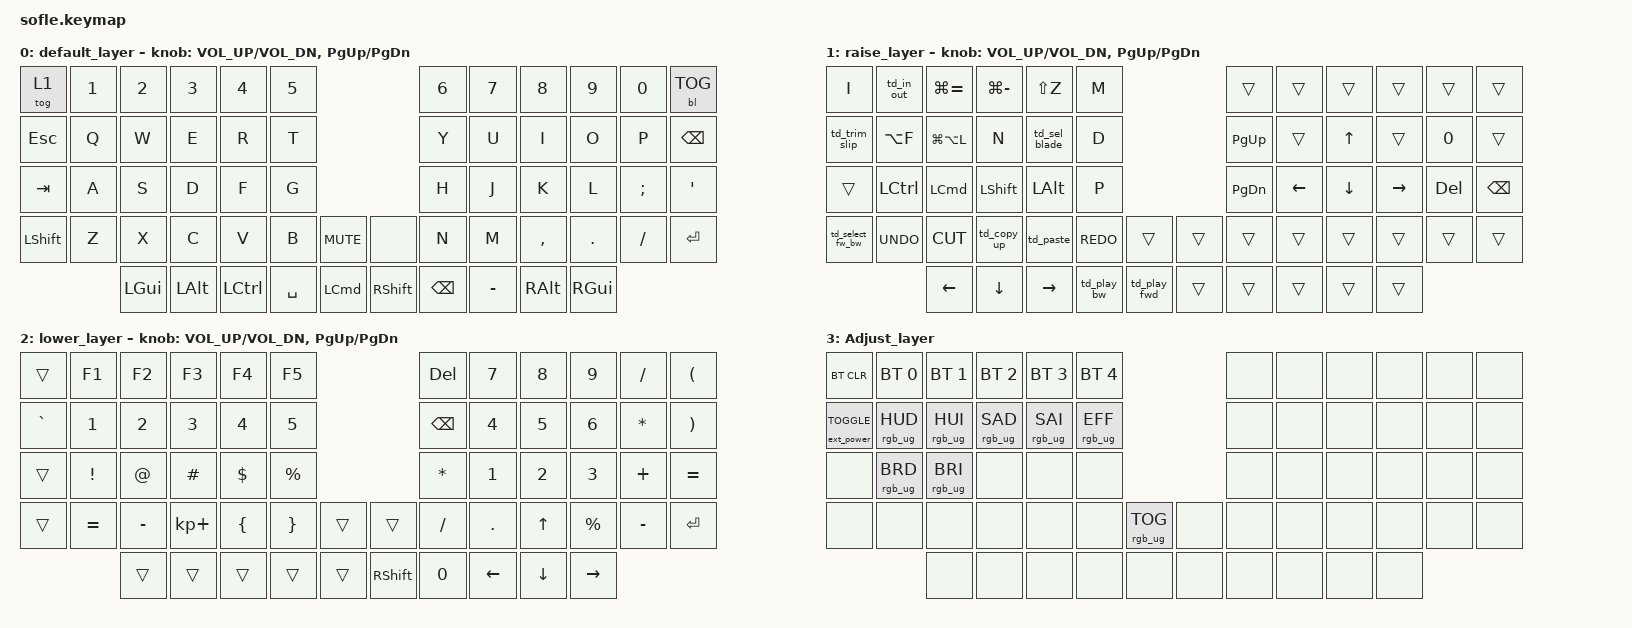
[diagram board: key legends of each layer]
/*
 * Copyright (c) 2020 The ZMK Contributors
 *
 * SPDX-License-Identifier: MIT
 */

#include <behaviors.dtsi>
#include <dt-bindings/zmk/backlight.h>
#include <dt-bindings/zmk/bt.h>
#include <dt-bindings/zmk/ext_power.h>
#include <dt-bindings/zmk/keys.h>
#include <dt-bindings/zmk/rgb.h>

#define BASE 0
#define LOWER 1
#define RAISE 2
#define ADJUST 3

/ {
    // Activate ADJUST layer by pressing raise and lower

    conditional_layers {
        compatible = "zmk,conditional-layers";

        adjust_layer {
            if-layers = <2 1>;
            then-layer = <3>;
        };
    };

    behaviors {
        td_sel_blade: td_sel_blade {
            compatible = "zmk,behavior-tap-dance";
            label = "TD_SEL_BLADE";
            #binding-cells = <0>;
            bindings = <&kp A>, <&kp B>;
        };

        td_copy_up: td_copy_up {
            compatible = "zmk,behavior-tap-dance";
            label = "TD_COPY_UP";
            #binding-cells = <0>;
            bindings = <&kp UP_ARROW>, <&kp K_COPY>;
        };

        td_trim_slip: td_trim_slip {
            compatible = "zmk,behavior-tap-dance";
            label = "TD_TRIM_SLIP";
            #binding-cells = <0>;
            bindings = <&kp T>, <&kp W>;
        };

        td_in_out: td_in_out {
            compatible = "zmk,behavior-tap-dance";
            label = "TD_IN_OUT";
            #binding-cells = <0>;
            bindings = <&kp I>, <&kp O>, <&kp LA(X)>;
        };

        td_paste: td_paste {
            compatible = "zmk,behavior-tap-dance";
            label = "TD_PASTE";
            #binding-cells = <0>;
            bindings = <&kp LG(V)>, <&kp LA(V)>, <&kp LS(LG(V))>;
        };

        td_select_fw_bw: td_select_fw_bw {
            compatible = "zmk,behavior-tap-dance";
            label = "TD_SELECT_FW_BW";
            #binding-cells = <0>;
            bindings = <&kp LA(Y)>, <&kp LG(LS(Y))>, <&kp LG(LS(A))>;
        };

        td_fwd_play: td_fwd_play {
            compatible = "zmk,behavior-tap-dance";
            label = "TD_FWD_PLAY";
            #binding-cells = <0>;
            bindings = <&kp RIGHT>;
        };

        td_play_bw: td_play_bw {
            compatible = "zmk,behavior-tap-dance";
            label = "TD_PLAY_BW";
            #binding-cells = <0>;
            bindings = <&kp J>, <&kp LS(J)>;
        };

        td_play_fwd: td_play_fwd {
            compatible = "zmk,behavior-tap-dance";
            label = "TD_PLAY_FWD";
            #binding-cells = <0>;
            bindings = <&kp SPACE>, <&kp LS(L)>;
        };
    };

    keymap {
        compatible = "zmk,keymap";

        default_layer {
            // ------------------------------------------------------------------------------------------------------------
            // |  `    |  1  |  2  |  3   |  4   |  5   |                   |  6   |  7    |  8    |  9   |   0   |       |
            // |  ESC  |  Q  |  W  |  E   |  R   |  T   |                   |  Y   |  U    |  I    |  O   |   P   | BKSPC |
            // |  TAB  |  A  |  S  |  D   |  F   |  G   |                   |  H   |  J    |  K    |  L   |   ;   |   '   |
            // | SHIFT |  Z  |  X  |  C   |  V   |  B   |  MUTE  |  |       |  N   |  M    |  ,    |  .   |   /   | SHIFT |
            //               | GUI | ALT  | CTRL | LOWER|  ENTER |  | SPACE | RAISE| CTRL  | ALT   | GUI  |

            bindings = <
&tog 1     &kp N1  &kp N2    &kp N3    &kp N4     &kp N5                                    &kp N6         &kp N7     &kp N8     &kp N9    &kp N0    &bl BL_TOG
&kp ESC    &kp Q   &kp W     &kp E     &kp R      &kp T                                     &kp Y          &kp U      &kp I      &kp O     &kp P     &kp BACKSPACE
&kp TAB    &kp A   &kp S     &kp D     &kp F      &kp G                                     &kp H          &kp J      &kp K      &kp L     &kp SEMI  &kp SQT
&kp LSHFT  &kp Z   &kp X     &kp C     &kp V      &kp B      &kp C_MUTE    &none            &kp N          &kp M      &kp COMMA  &kp DOT   &kp FSLH  &kp ENTER
                   &kp LGUI  &kp LALT  &kp LCTRL  &kp SPACE  &kp LCMD      &kp RIGHT_SHIFT  &kp BACKSPACE  &kp MINUS  &kp RALT   &kp RGUI
            >;

            sensor-bindings = <&inc_dec_kp C_VOL_UP C_VOL_DN &inc_dec_kp PG_UP PG_DN>;
        };

        raise_layer {
            // ------------------------------------------------------------------------------------------------------------
            // |BTCLR| BT1  | BT2  |  BT3  |  BT4  |  BT5 |                |      |      |       |      |       |       |
            // |     | INS  | PSCR | GUI   |       |      |                | PGUP |      |   ^   |      |       |       |
            // |     | ALT  | CTRL | SHIFT |       | CAPS |                | PGDN |   <- |   v   |  ->  |  DEL  | BKSPC |
            // |     | UNDO | CUT  | COPY  | PASTE |      |      |  |      |      |      |       |      |       |       |
            //              |      |       |       |      |      |  |      |      |      |       |      |

            bindings = <
&kp I             &td_in_out        &kp LG(EQUAL)     &kp LG(MINUS)   &kp LS(Z)      &kp M                                &trans     &trans    &trans    &trans     &trans   &trans
&td_trim_slip     &kp LA(F)         &kp LG(LA(L))     &kp N           &td_sel_blade  &kp D                                &kp PG_UP  &trans    &kp UP    &trans     &kp N0   &trans
&trans            &kp LEFT_CONTROL  &kp LEFT_COMMAND  &kp LSHFT       &kp LEFT_ALT   &kp P                                &kp PG_DN  &kp LEFT  &kp DOWN  &kp RIGHT  &kp DEL  &kp BSPC
&td_select_fw_bw  &kp K_UNDO        &kp K_CUT         &td_copy_up     &td_paste      &kp K_REDO   &trans          &trans  &trans     &trans    &trans    &trans     &trans   &trans
                                    &kp LEFT          &kp DOWN_ARROW  &kp RIGHT      &td_play_bw  &td_play_fwd    &trans  &trans     &trans    &trans    &trans
            >;

            sensor-bindings = <&inc_dec_kp C_VOL_UP C_VOL_DN &inc_dec_kp PG_UP PG_DN>;
        };

        lower_layer {
            // TODO: Some binds are waiting for shifted keycode support.
            // ------------------------------------------------------------------------------------------------------------
            // |       |  F1 |  F2 |  F3  |  F4  |  F5  |                   |  F6  |  F7   |  F8   |  F9  |  F10  |  F11  |
            // | `     |   1 |   2 |   3  |   4  |   5  |                   |   6  |   7   |   8   |   9  |    0  |  F12  |
            // |       |  !  |  @  |  #   |  $   |  %   |                   |  ^   |  &    |  *    |  (   |   )   |   |   |
            // |       |  =  |  -  |  +   |  {   |  }   |        |  |       |  [   |  ]    |  ;    |  :   |   \   |       |
            //               |     |      |      |      |        |  |       |      |       |       |      |

            bindings = <
&trans     &kp F1     &kp F2     &kp F3       &kp F4    &kp F5                                &kp DELETE     &kp N7        &kp N8        &kp N9        &kp SLASH     &kp LEFT_PARENTHESIS
&kp GRAVE  &kp N1     &kp N2     &kp N3       &kp N4    &kp N5                                &kp BACKSPACE  &kp NUMBER_4  &kp N5        &kp NUMBER_6  &kp ASTERISK  &kp RIGHT_PARENTHESIS
&trans     &kp EXCL   &kp AT     &kp HASH     &kp DLLR  &kp PRCNT                             &kp ASTERISK   &kp NUMBER_1  &kp NUMBER_2  &kp NUMBER_3  &kp PLUS      &kp EQUAL
&trans     &kp EQUAL  &kp MINUS  &kp KP_PLUS  &kp LBRC  &kp RBRC   &trans    &trans           &kp SLASH      &kp DOT       &kp UP_ARROW  &kp PERCENT   &kp MINUS     &kp RET
                      &trans     &trans       &trans    &trans     &trans    &kp RIGHT_SHIFT  &kp N0         &kp LEFT      &kp DOWN      &kp RIGHT
            >;

            sensor-bindings = <&inc_dec_kp C_VOL_UP C_VOL_DN &inc_dec_kp PG_UP PG_DN>;
        };

        Adjust_layer {
            bindings = <
&bt BT_CLR                       &bt BT_SEL 0     &bt BT_SEL 1     &bt BT_SEL 2     &bt BT_SEL 3     &bt BT_SEL 4                               &none  &none  &none  &none  &none  &none
&ext_power EXT_POWER_TOGGLE_CMD  &rgb_ug RGB_HUD  &rgb_ug RGB_HUI  &rgb_ug RGB_SAD  &rgb_ug RGB_SAI  &rgb_ug RGB_EFF                            &none  &none  &none  &none  &none  &none
&none                            &rgb_ug RGB_BRD  &rgb_ug RGB_BRI  &none            &none            &none                                      &none  &none  &none  &none  &none  &none
&none                            &none            &none            &none            &none            &none            &rgb_ug RGB_TOG    &none  &none  &none  &none  &none  &none  &none
                                                  &none            &none            &none            &none            &none              &none  &none  &none  &none  &none
            >;
        };
    };
};
